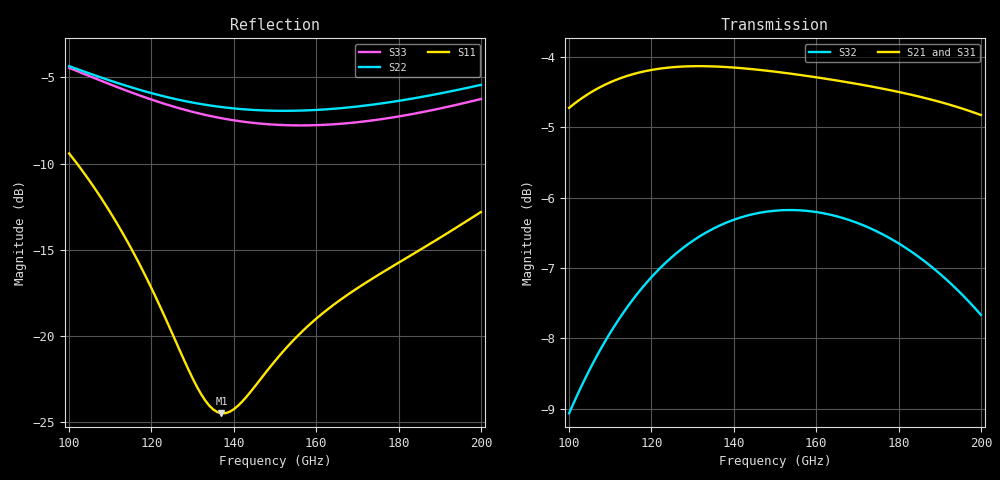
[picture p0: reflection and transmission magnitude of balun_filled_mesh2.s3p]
! Created with skrf 2.2.0 (http://scikit-rf.org).
# GHz S DB R 50.0
! Port[1] = P1
! Port[2] = P2
! Port[3] = P3
!freq dBS11 angS11 dBS12 angS12 dBS13 angS13
! dBS21 angS21 dBS22 angS22 dBS23 angS23
! dBS31 angS31 dBS32 angS32 dBS33 angS33
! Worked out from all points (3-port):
!   101 points, 100 GHz to 200 GHz, reference 50 ohm
!   strongest paths, dB at 100 GHz, 125 GHz, 150 GHz, 175 GHz, 200 GHz:
!     S21: -4.7, -4.1, -4.2, -4.4, -4.8
!     S31: -5.0, -4.3, -4.3, -4.4, -4.6
!     S32: -9.1, -6.8, -6.2, -6.5, -7.7
!   lowest |S11| = -24.5 dB at 137 GHz (marker M1), VSWR 1.13, Z = 44.5 + j1.24 ohm
!   |S11| at or under -10 dB: 101.9 GHz to end of sweep
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100  -9.42 132.7  -4.72 -11.8  -4.96 164.9
     -4.72 -11.8  -4.36 60.2  -9.07 91.6
     -4.96 164.9  -9.07 91.6  -4.45 49.8
108  -12.08 124.6  -4.42 -24.4  -4.62 151.5
     -4.42 -24.4  -5.03 52.7  -8.12 79.2
     -4.62 151.5  -8.12 79.2  -5.22 41.0
117  -15.79 120.5  -4.22 -37.7  -4.39 137.3
     -4.22 -37.7  -5.72 45.0  -7.34 65.8
     -4.39 137.3  -7.34 65.8  -6.04 32.2
131  -22.93 140.4  -4.13 -56.8  -4.25 116.9
     -4.13 -56.8  -6.51 34.5  -6.58 46.4
     -4.25 116.9  -6.58 46.4  -7.06 20.3
137  -24.49 166.5  -4.14 -64.5  -4.24 108.7
     -4.14 -64.5  -6.72 30.2  -6.39 38.5
     -4.24 108.7  -6.39 38.5  -7.37 15.7
141  -24.05 -176.5  -4.16 -69.5  -4.24 103.3
     -4.16 -69.5  -6.83 27.4  -6.29 33.4
     -4.24 103.3  -6.29 33.4  -7.53 12.7
150  -21.45 -155.3  -4.21 -80.4  -4.26 91.7
     -4.21 -80.4  -6.94 20.9  -6.19 22.1
     -4.26 91.7  -6.19 22.1  -7.75 6.1
160  -19.00 -147.5  -4.29 -92.1  -4.31 79.2
     -4.29 -92.1  -6.89 13.4  -6.21 10.1
     -4.31 79.2  -6.21 10.1  -7.78 -1.3
174  -16.62 -143.9  -4.43 -108.2  -4.38 62.1
     -4.43 -108.2  -6.58 2.2  -6.46 -6.3
     -4.38 62.1  -6.46 -6.3  -7.49 -12.2
200  -12.81 -144.0  -4.83 -138.5  -4.61 30.1
     -4.83 -138.5  -5.44 -21.1  -7.67 -36.7
     -4.61 30.1  -7.67 -36.7  -6.26 -34.7
